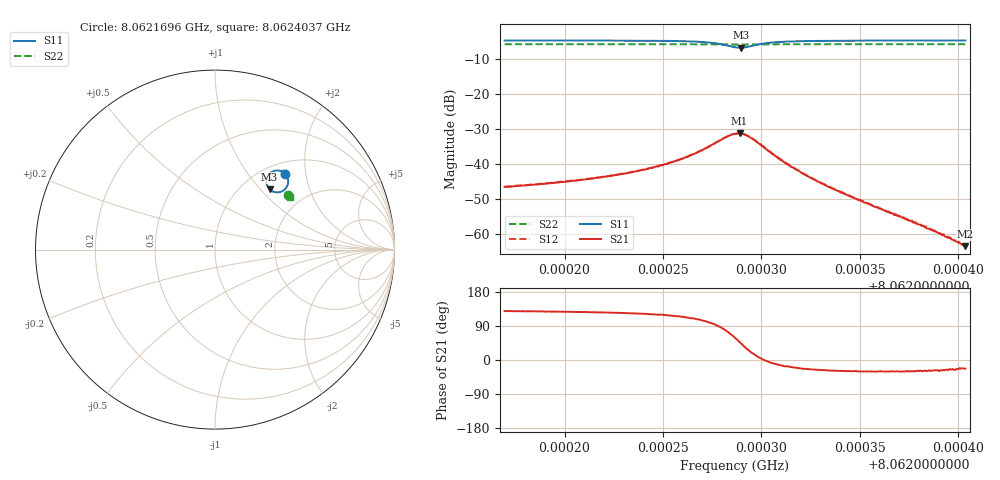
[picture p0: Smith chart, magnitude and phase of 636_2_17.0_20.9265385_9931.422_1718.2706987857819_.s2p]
#  HZ  S  RI  R  50.00
! Rohde & Schwarz Vector Network Analyzer
! Rohde-Schwarz,ZNB20-2Port,1311601062101988,3.16
! Created: UTC 3/20/2024, 11:20:38 PM
! freq[Hz]  re:S11  im:S11  re:S21  im:S21  re:S12  im:S12  re:S22  im:S22
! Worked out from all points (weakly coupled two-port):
!   401 points, 8.0621696 GHz to 8.0624037 GHz, reference 50 ohm
!   highest |S21| = -31.37 dB at 8.062289 GHz (marker M1); lowest = -63.6 dB at 8.0624037 GHz (marker M2)
!   lowest |S11| = -6.9 dB at 8.0622895 GHz (marker M3), VSWR 2.66, Z = 66.5 + j56.3 ohm
!   |S11| at or under -10 dB: nowhere
!   |S22| runs from -6.0 to -5.9 dB; largest |S21 - S12| = 0.0014
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8.06216955e9  0.3897 0.4238  -0.00294 0.00358  -0.00271 0.00381  0.4088 0.3022
8.06220877e9  0.3953 0.4171  -0.0035 0.00472  -0.00321 0.00495  0.4103 0.3
8.06223101e9  0.3997 0.4104  -0.00403 0.00601  -0.0037 0.0063  0.411 0.2986
8.06224799e9  0.4042 0.4007  -0.00461 0.00797  -0.00409 0.00837  0.4118 0.2972
8.06226145e9  0.4077 0.3854  -0.00481 0.0113  -0.00418 0.0116  0.4121 0.296
8.0622673e9  0.4078 0.374  -0.00424 0.0137  -0.00347 0.014  0.4121 0.2951
8.06227491e9  0.4006 0.3508  -0.00216 0.0184  -0.00122 0.0185  0.412 0.2938
8.06228252e9  0.3669 0.3222  0.00586 0.0235  0.00713 0.0233  0.4103 0.2927
8.06228662e9  0.3301 0.3212  0.014 0.0226  0.015 0.0222  0.4089 0.293
8.06228896e9  0.3086 0.3324  0.0183 0.0198  0.0193 0.0191  0.4081 0.2937
8.06228955e9  0.3041 0.3365  0.0192 0.0187  0.0201 0.018  0.4081 0.2939
8.06229189e9  0.2905 0.3565  0.0216 0.014  0.0224 0.0132  0.4076 0.2947
8.06229481e9  0.2861 0.3834  0.0218 0.0079  0.0223 0.00711  0.4079 0.2958
8.06230301e9  0.3096 0.4279  0.0157 -0.00101  0.0158 -0.00181  0.4099 0.297
8.06231237e9  0.3362 0.4398  0.00961 -0.00285  0.00966 -0.00346  0.4115 0.2967
8.06232584e9  0.3562 0.44  0.00553 -0.00258  0.00544 -0.00292  0.4127 0.2959
8.0623434e9  0.3686 0.4368  0.0031 -0.00176  0.00304 -0.00193  0.4139 0.2947
8.06236505e9  0.3766 0.4332  0.00172 -0.001  0.00169 -0.00112  0.4148 0.2933
8.06238378e9  0.3809 0.4306  0.00104 -0.00059  0.00107 -0.000684  0.4156 0.2922
8.06239666e9  0.3832 0.4292  0.000747 -0.000347  0.000739 -0.000395  0.416 0.2915
8.06240193e9  0.3839 0.4286  0.000659 -0.000264  0.000629 -0.000269  0.4162 0.2912
8.06240368e9  0.3841 0.4286  0.000608 -0.000256  0.0006 -0.000286  0.4164 0.2913
